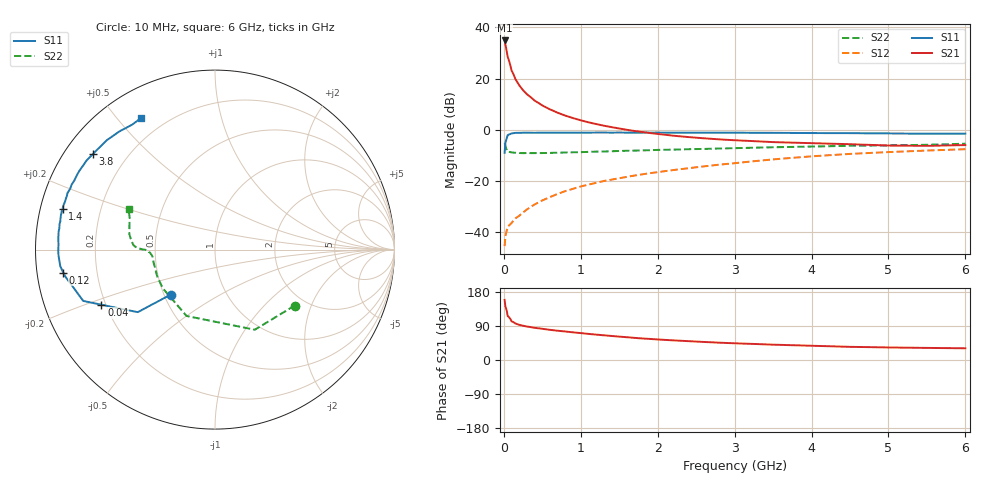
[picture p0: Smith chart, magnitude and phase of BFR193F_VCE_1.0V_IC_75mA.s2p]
! (c) 2017  Infineon Technologies AG, Munich
! Infineon Technologies  Discrete & RF Semiconductors
! BFR193F
! VCE =  1.0 V,  IC =  75 mA
! Common Emitter S-Parameters:  Jan 2017
# GHz  S  MA  R  50
!  f  S11  S21  S12  S22
! GHz  MAG  ANG  MAG  ANG  MAG  ANG  MAG  ANG
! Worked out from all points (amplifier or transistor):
!   77 points, 10 MHz to 6 GHz, reference 50 ohm
!   highest |S21| = 34.9 dB at 10 MHz (marker M1)
!   |S21| within 3 dB of that: start of sweep to 29.95 MHz
!   unconditionally stable (mu >= 1): start of sweep to 10.87 MHz; 245.5 MHz to end of sweep
!   at 130 MHz: K = 0.77, MSG = 28.3 dB, |S12| = -35.3 dB
!   at 2.2 GHz: K = 1.14, MAG = 4.4 dB, |S12| = -15.8 dB
!   at 6 GHz: K = 1.04, MAG = -0.4 dB, |S12| = -7.6 dB
!   S11 on the Smith chart (normalised r, x): 10 MHz: 0.54, -0.31; 40 MHz: 0.18, -0.22; 120 MHz: 0.08, -0.07; 1.4 GHz: 0.07, +0.13; 3.8 GHz: 0.08, +0.34; 6 GHz: 0.12, +0.58
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0.01  0.3529 -134.6  55.52 158.6  0.0053 68.6  0.543 -35.0
0.02  0.5538 -141.0  46.62 141.4  0.0082 55.0  0.4984 -63.6
0.04  0.7032 -154.1  32.46 127.8  0.0111 44.8  0.3966 -94.6
0.05  0.7876 -158.7  26.6 115.9  0.0126 41.5  0.4023 -113.2
0.1  0.8474 -169.8  14.42 102.0  0.015 43.4  0.362 -143.4
0.12  0.8547 -171.4  12.56 100.3  0.0164 45.7  0.3574 -148.0
0.15  0.8668 -173.8  9.798 96.4  0.0185 48.6  0.355 -155.0
0.2  0.8702 -176.5  7.372 92.8  0.0208 54.5  0.3503 -160.8
0.25  0.8729 -178.3  5.906 90.4  0.0242 57.7  0.3486 -165.2
0.3  0.8736 -179.6  4.935 88.3  0.0277 61.0  0.35 -167.5
0.4  0.8721 178.2  3.706 84.9  0.0346 65.9  0.349 -171.1
0.5  0.8749 176.5  2.979 82.3  0.0415 68.8  0.3499 -173.0
0.7  0.8772 173.4  2.147 77.2  0.0557 71.4  0.3555 -175.4
0.9  0.8777 170.8  1.687 73.0  0.0701 73.0  0.3621 -177.2
1.1  0.8785 168.4  1.396 68.9  0.0847 73.3  0.3695 -177.9
1.4  0.8785 165.1  1.124 63.4  0.1059 73.3  0.3794 -178.9
2.1  0.8776 158.1  0.796 53.0  0.1554 71.9  0.4058 179.7
3.1  0.8729 148.9  0.613 43.4  0.2299 68.0  0.4395 178.3
3.8  0.864 142.0  0.557 38.8  0.2861 63.6  0.4629 175.1
4.1  0.8596 138.9  0.541 37.0  0.3087 61.4  0.472 173.0
5.1  0.8442 128.0  0.49 32.9  0.3707 53.3  0.4975 163.3
6  0.8405 119.2  0.501 30.9  0.4163 47.0  0.5334 154.6
